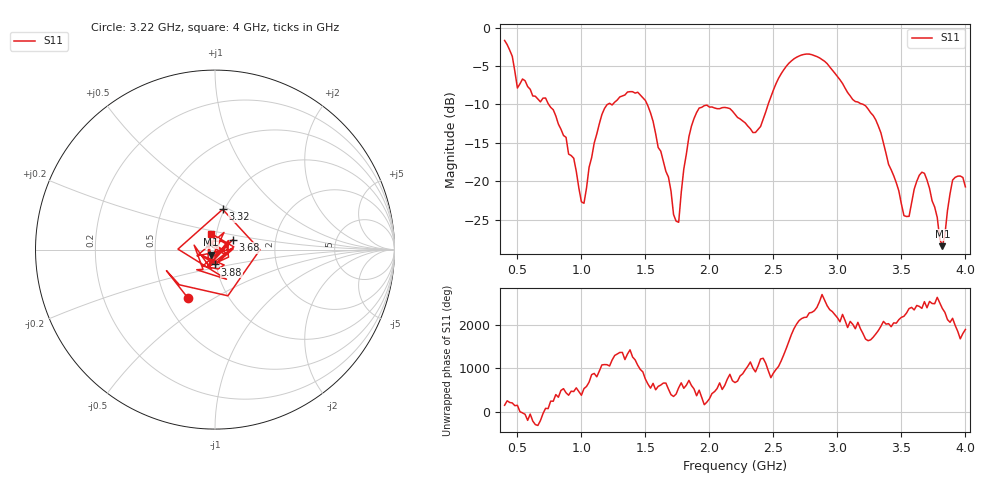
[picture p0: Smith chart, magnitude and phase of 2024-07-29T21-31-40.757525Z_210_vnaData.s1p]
!Created with skrf (http://scikit-rf.org).
# Hz S RI R 50.0
!freq ReS11 ImS11
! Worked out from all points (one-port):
!   181 points, 400 MHz to 4 GHz, reference 50 ohm
!   lowest |S11| = -28.5 dB at 3.82 GHz (marker M1), VSWR 1.08, Z = 47.6 - j2.77 ohm
!   |S11| at or under -10 dB: 744.3 MHz to 1.204 GHz (460.2 MHz wide, 47.2 % of centre); 1.514 GHz to 2.459 GHz (944.7 MHz wide, 47.6 % of centre); 3.201 GHz to end of sweep (the widest 3 of 4)
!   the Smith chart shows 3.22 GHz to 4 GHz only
!   S11 on the Smith chart (normalised r, x): 3.22 GHz: 0.65, -0.39; 3.32 GHz: 0.98, +0.46; 3.68 GHz: 1.21, +0.13; 3.88 GHz: 0.99, -0.17; 4 GHz: 0.94, +0.17
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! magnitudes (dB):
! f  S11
! 400 MHz  -1.7
! 460 MHz  -3.7
! 500 MHz  -7.9
! 720 MHz  -9.2
! 860 MHz  -14.0
! 940 MHz  -17.0
! 1.02 GHz  -22.9
! 1.16 GHz  -11.3
! 1.3 GHz  -9.0
! 1.5 GHz  -9.5
! 1.76 GHz  -25.3
! 1.84 GHz  -14.2
! 1.9 GHz  -11.1
! 2.2 GHz  -11.3
! 2.36 GHz  -13.7
! 2.66 GHz  -4.1
! 2.86 GHz  -3.9
! 3.1 GHz  -8.9
! 3.22 GHz  -10.2
! 3.32 GHz  -12.8
! 3.52 GHz  -24.5
! 3.56 GHz  -24.6
! 3.62 GHz  -20.0
! 3.68 GHz  -19.0
! 3.82 GHz  -28.5
! 3.88 GHz  -21.6
! 3.94 GHz  -19.3
! 4 GHz  -20.7
